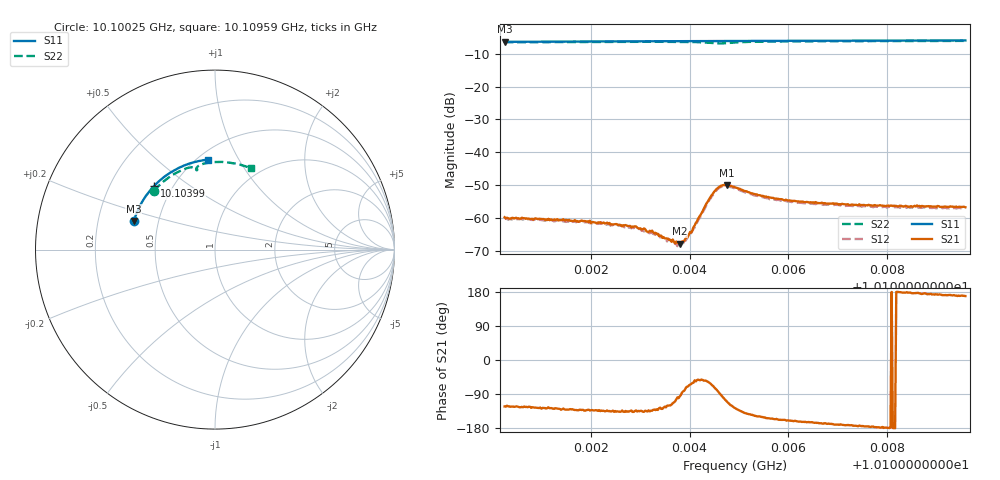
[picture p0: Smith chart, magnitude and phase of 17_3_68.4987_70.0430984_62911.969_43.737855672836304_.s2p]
#  HZ  S  RI  R  50.00
! Rohde & Schwarz Vector Network Analyzer
! Rohde-Schwarz,ZNB20-2Port,1311601062101988,3.16
! Created: UTC 3/20/2024, 5:04:25 PM
! freq[Hz]  re:S11  im:S11  re:S21  im:S21  re:S12  im:S12  re:S22  im:S22
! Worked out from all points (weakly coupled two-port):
!   401 points, 10.10025 GHz to 10.10959 GHz, reference 50 ohm
!   highest |S21| = -49.92 dB at 10.10476 GHz (marker M1); lowest = -67.8 dB at 10.1038 GHz (marker M2)
!   lowest |S11| = -6.4 dB at 10.10025 GHz (marker M3), VSWR 2.84, Z = 18.1 + j7.51 ohm
!   |S11| at or under -10 dB: nowhere
!   |S22| runs from -6.9 to -6.1 dB; largest |S21 - S12| = 0.00034
!   S11 on the Smith chart (normalised r, x): 10.10025 GHz: 0.36, +0.15; 10.10399 GHz: 0.40, +0.37; 10.10959 GHz: 0.56, +0.75
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1.0100252e10  -0.4516 0.1602  -0.000557 -0.000869  -0.00043 -0.000865  -0.3395 0.3275
1.0101816e10  -0.4159 0.2485  -0.000612 -0.000683  -0.000538 -0.000707  -0.2652 0.3961
1.0102891e10  -0.3815 0.3039  -0.000529 -0.000532  -0.000462 -0.000553  -0.2053 0.4332
1.0103241e10  -0.3687 0.321  -0.000448 -0.000465  -0.000372 -0.000463  -0.1839 0.4434
1.0103381e10  -0.3632 0.3275  -0.000325 -0.000423  -0.000342 -0.00045  -0.175 0.447
1.0103614e10  -0.3541 0.3383  -0.000232 -0.000406  -0.000193 -0.000419  -0.1595 0.4524
1.0103708e10  -0.3504 0.3426  -0.000136 -0.00039  -0.000107 -0.000395  -0.153 0.4546
1.0103801e10  -0.3466 0.3468  -4.38e-05 -0.000406  -2.22e-05 -0.00041  -0.1465 0.4562
1.0103848e10  -0.3447 0.349  3.19e-05 -0.00044  4.64e-05 -0.0004  -0.143 0.4569
1.0103895e10  -0.3427 0.3509  7.01e-05 -0.000443  0.000127 -0.000437  -0.1396 0.4577
1.0103988e10  -0.3391 0.3551  0.00022 -0.000522  0.000258 -0.000458  -0.1325 0.4586
1.0104081e10  -0.335 0.3591  0.000368 -0.00063  0.000461 -0.00051  -0.125 0.4591
1.0104362e10  -0.3228 0.371  0.000955 -0.00145  0.00102 -0.00133  -0.1036 0.4535
1.0104478e10  -0.3177 0.3758  0.000863 -0.00221  0.00103 -0.00204  -0.099 0.4468
1.0104619e10  -0.3113 0.3813  2.24e-05 -0.00303  0.000297 -0.00292  -0.1014 0.4417
1.0104759e10  -0.3051 0.3869  -0.0011 -0.00299  -0.000785 -0.00297  -0.1053 0.4467
1.0104922e10  -0.2975 0.3934  -0.00177 -0.00236  -0.00149 -0.00241  -0.1014 0.4575
1.0105272e10  -0.281 0.4067  -0.00194 -0.00137  -0.00176 -0.00147  -0.0795 0.473
1.0105669e10  -0.2615 0.4206  -0.00183 -0.000877  -0.00167 -0.000996  -0.0519 0.4814
1.0106487e10  -0.2191 0.4463  -0.00165 -0.000468  -0.00156 -0.000596  0.00266 0.488
1.0108051e10  -0.1319 0.4826  -0.00153 -1.21e-05  -0.00148 -0.000175  0.1036 0.4813
1.0109593e10  -0.0406 0.5012  -0.00144 0.000284  -0.00143 0.000154  0.1979 0.454
